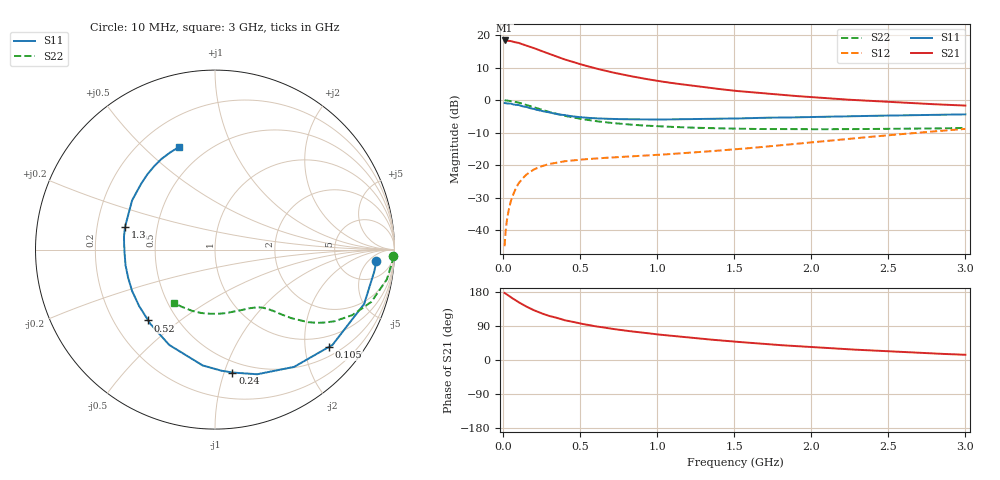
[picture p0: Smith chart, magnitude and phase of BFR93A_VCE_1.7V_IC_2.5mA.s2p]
! Infineon Technologies  Discrete & RF Semiconductors
! BFR93A
! VCE =  1.7 V,  IC =  2.5 mA
! Common Emitter S-Parameters:  Nov 2015
# GHz  S  MA  R  50
!  f  S11  S21  S12  S22
! GHz  MAG  ANG  MAG  ANG  MAG  ANG  MAG  ANG
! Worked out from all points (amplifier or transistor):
!   180 points, 10 MHz to 3 GHz, reference 50 ohm
!   highest |S21| = 18.3 dB at 10 MHz (marker M1)
!   |S21| within 3 dB of that: start of sweep to 235.8 MHz
!   unconditionally stable (mu >= 1): 910.1 MHz to end of sweep
!   at 160 MHz: K = 0.22, MSG = 19.6 dB, |S12| = -22.6 dB
!   at 1.22 GHz: K = 1.14, MAG = 8.0 dB, |S12| = -16.1 dB
!   at 3 GHz: K = 1.01, MAG = 3.1 dB, |S12| = -8.8 dB
!   S11 on the Smith chart (normalised r, x): 10 MHz: 13, -9; 105 MHz: 0.71, -2.53; 240 MHz: 0.41, -1.07; 520 MHz: 0.35, -0.39; 1.3 GHz: 0.32, +0.11; 3 GHz: 0.36, +0.64
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0.01  0.9018 -4.1  8.268 176.9  0.0057 87.9  0.9925 -2.0
0.02  0.8953 -8.0  8.257 174.0  0.0115 85.0  0.99 -3.9
0.04  0.8838 -16.0  8.124 168.3  0.0223 79.9  0.9768 -7.8
0.05  0.8845 -20.0  8.089 165.4  0.0278 78.8  0.972 -9.8
0.1  0.8429 -39.0  7.599 152.7  0.0524 69.0  0.9186 -18.5
0.105  0.8343 -40.6  7.521 151.6  0.0542 67.9  0.9109 -19.1
0.15  0.7882 -56.0  6.951 141.1  0.0714 60.3  0.8477 -25.5
0.2  0.7333 -71.3  6.309 131.3  0.0859 53.9  0.7772 -30.9
0.24  0.6918 -81.9  5.803 124.7  0.0944 49.6  0.7257 -34.1
0.3  0.649 -96.1  5.145 116.2  0.1043 45.0  0.6583 -37.9
0.4  0.5893 -115.6  4.224 104.9  0.115 40.2  0.5742 -41.8
0.5  0.5488 -130.9  3.569 96.1  0.1217 37.4  0.5166 -44.3
0.52  0.5425 -133.3  3.466 94.8  0.1228 37.2  0.5084 -44.7
0.6  0.527 -143.3  3.074 88.9  0.127 36.4  0.476 -46.2
0.7  0.5163 -153.4  2.698 82.6  0.1313 36.2  0.4472 -48.0
0.8  0.5087 -162.1  2.408 77.1  0.1352 36.8  0.4255 -49.9
1.02  0.5041 -177.9  1.948 66.8  0.145 38.9  0.3956 -54.5
1.3  0.5169 166.0  1.584 55.5  0.1608 42.5  0.3735 -62.0
1.52  0.5231 156.5  1.382 47.9  0.1768 45.4  0.3645 -68.9
2.02  0.5517 137.9  1.105 33.6  0.2263 49.2  0.3576 -86.5
2.52  0.5807 123.1  0.934 22.5  0.2915 48.4  0.3622 -106.3
3  0.6047 109.6  0.825 13.8  0.3617 44.2  0.375 -127.5
